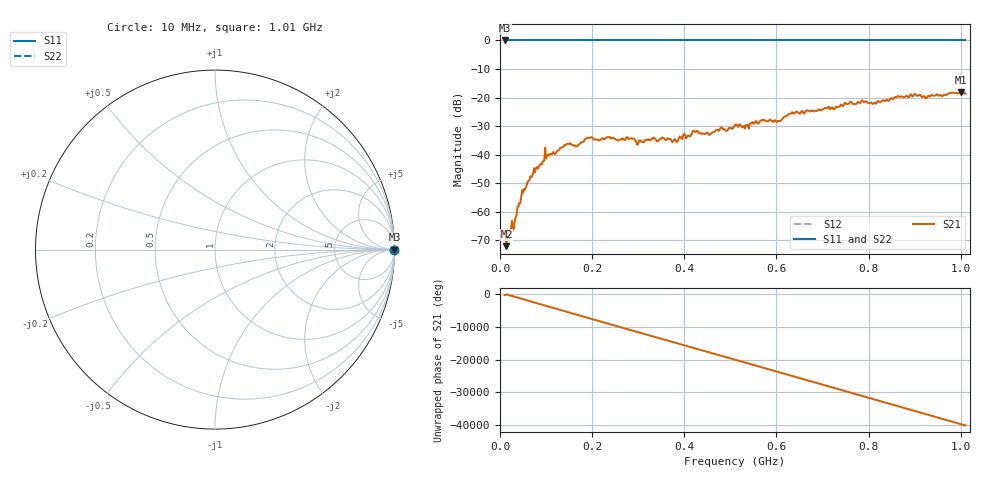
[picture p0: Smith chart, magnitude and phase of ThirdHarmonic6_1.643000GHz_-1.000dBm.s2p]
! 8/16/2025 7:39:42 PM
! C:\ANRITSUVNA\TEMP\TEMP.S2P
! CHANNEL.1
! TR.MEASUREMENT
! RAW.DATA
! RF.CORRECTION.OFF
! AVERAGING.OFF
! IF.BANDWIDTH: 5KHZ
! SWEEPTYPE:  FREQ.SWEEP(Linear)
! Reference Plane Port Info
! PORT:  PORT1  PORT2
! DISTANCE:  0  m  0  m
! TIME:  0  s  0  s
! PHASE.OFFSET:  0  deg.  0  deg.
! LOSS:  0  dB  0  dB
! REF.LOSS:  0  dB  0  dB
! REF.FREQ:  0  Hz  0  Hz
! Power Info
! POWER:  -20  dBm  -20  dBm
! EFF.POWER:  -20  dBm  -20  dBm
! SOURCE.ATTEN:  0  dB  0  dB
! TEST.ATTEN:  0  dB  0  dB
# GHZ S RI R 50.0
! FREQ.GHZ  S11RE  S11IM  S21RE  S21IM  S12RE  S12IM  S22RE  S22IM
!; PortSelection: Port_12
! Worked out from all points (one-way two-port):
!   501 points, 10 MHz to 1.01 GHz, reference 50 ohm
!   highest |S21| = -18.19 dB at 1 GHz (marker M1); lowest = -72.1 dB at 14 MHz (marker M2)
!   lowest |S11| = 0.0 dB at 10 MHz (marker M3)
!   |S11| at or under -10 dB: nowhere
!   |S22| runs from 0.0 to 0.0 dB; largest |S21 - S12| = 1.1
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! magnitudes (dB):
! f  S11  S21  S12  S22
! 10 MHz  0.0  -66.6  0.0  0.0
! 14 MHz  0.0  -72.1  0.0  0.0
! 18 MHz  0.0  -69.8  0.0  0.0
! 32 MHz  0.0  -63.2  0.0  0.0
! 52 MHz  0.0  -52.1  0.0  0.0
! 100 MHz  0.0  -41.4  0.0  0.0
! 144 MHz  0.0  -36.4  0.0  0.0
! 178 MHz  0.0  -35.7  0.0  0.0
! 194 MHz  0.0  -34.1  0.0  0.0
! 278 MHz  0.0  -34.2  0.0  0.0
! 298 MHz  0.0  -36.6  0.0  0.0
! 344 MHz  0.0  -35.1  0.0  0.0
! 382 MHz  0.0  -35.3  0.0  0.0
! 422 MHz  0.0  -31.8  0.0  0.0
! 456 MHz  0.0  -33.0  0.0  0.0
! 510 MHz  0.0  -29.7  0.0  0.0
! 604 MHz  0.0  -28.2  0.0  0.0
! 632 MHz  0.0  -25.6  0.0  0.0
! 678 MHz  0.0  -24.5  0.0  0.0
! 844 MHz  0.0  -21.1  0.0  0.0
! 1 GHz  0.0  -18.2  0.0  0.0
! 1.01 GHz  0.0  -18.6  0.0  0.0
